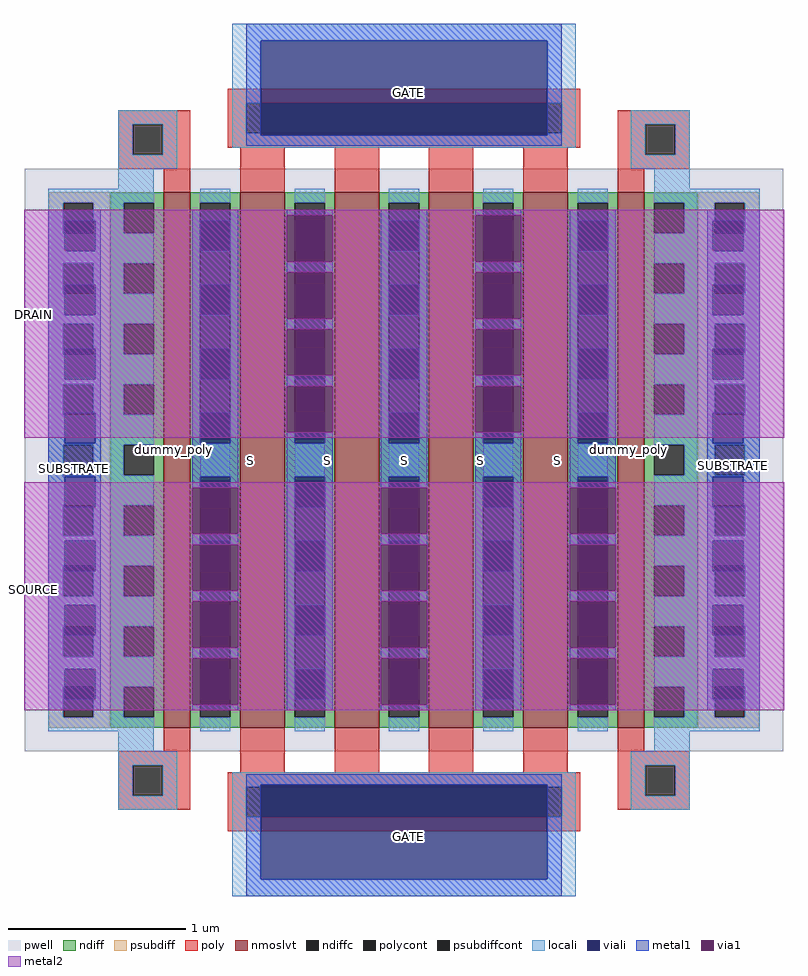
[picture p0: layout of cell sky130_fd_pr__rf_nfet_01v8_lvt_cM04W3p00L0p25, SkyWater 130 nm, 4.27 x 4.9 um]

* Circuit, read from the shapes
.subckt sky130_fd_pr__rf_nfet_01v8_lvt_cM04W3p00L0p25 GATE SUBSTRATE SOURCE DRAIN
XM1 SOURCE SUBSTRATE SUBSTRATE SUBSTRATE sky130_fd_pr__nfet_01v8_lvt w=3.01 l=0.15 m=2
XM2 DRAIN GATE SOURCE SUBSTRATE sky130_fd_pr__nfet_01v8_lvt w=3.01 l=0.25 m=4
.ends

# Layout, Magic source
magic
tech sky130A
magscale 1 2
<< pwell >>
rect 15 163 867 817
<< nmoslvt >>
rect 171 189 201 791
rect 257 189 307 791
rect 363 189 413 791
rect 469 189 519 791
rect 575 189 625 791
rect 681 189 711 791
<< ndiff >>
rect 111 779 171 791
rect 111 745 126 779
rect 160 745 171 779
rect 111 711 171 745
rect 111 677 126 711
rect 160 677 171 711
rect 111 643 171 677
rect 111 609 126 643
rect 160 609 171 643
rect 111 575 171 609
rect 111 541 126 575
rect 160 541 171 575
rect 111 507 171 541
rect 111 473 126 507
rect 160 473 171 507
rect 111 439 171 473
rect 111 405 126 439
rect 160 405 171 439
rect 111 371 171 405
rect 111 337 126 371
rect 160 337 171 371
rect 111 303 171 337
rect 111 269 126 303
rect 160 269 171 303
rect 111 235 171 269
rect 111 201 126 235
rect 160 201 171 235
rect 111 189 171 201
rect 201 779 257 791
rect 201 513 212 779
rect 246 513 257 779
rect 201 467 257 513
rect 201 201 212 467
rect 246 201 257 467
rect 201 189 257 201
rect 307 779 363 791
rect 307 513 318 779
rect 352 513 363 779
rect 307 467 363 513
rect 307 201 318 467
rect 352 201 363 467
rect 307 189 363 201
rect 413 779 469 791
rect 413 513 424 779
rect 458 513 469 779
rect 413 467 469 513
rect 413 201 424 467
rect 458 201 469 467
rect 413 189 469 201
rect 519 779 575 791
rect 519 513 530 779
rect 564 513 575 779
rect 519 467 575 513
rect 519 201 530 467
rect 564 201 575 467
rect 519 189 575 201
rect 625 779 681 791
rect 625 513 636 779
rect 670 513 681 779
rect 625 467 681 513
rect 625 201 636 467
rect 670 201 681 467
rect 625 189 681 201
rect 711 779 771 791
rect 711 745 722 779
rect 756 745 771 779
rect 711 711 771 745
rect 711 677 722 711
rect 756 677 771 711
rect 711 643 771 677
rect 711 609 722 643
rect 756 609 771 643
rect 711 575 771 609
rect 711 541 722 575
rect 756 541 771 575
rect 711 507 771 541
rect 711 473 722 507
rect 756 473 771 507
rect 711 439 771 473
rect 711 405 722 439
rect 756 405 771 439
rect 711 371 771 405
rect 711 337 722 371
rect 756 337 771 371
rect 711 303 771 337
rect 711 269 722 303
rect 756 269 771 303
rect 711 235 771 269
rect 711 201 722 235
rect 756 201 771 235
rect 711 189 771 201
<< ndiffc >>
rect 126 745 160 779
rect 126 677 160 711
rect 126 609 160 643
rect 126 541 160 575
rect 126 473 160 507
rect 126 405 160 439
rect 126 337 160 371
rect 126 269 160 303
rect 126 201 160 235
rect 212 513 246 779
rect 212 201 246 467
rect 318 513 352 779
rect 318 201 352 467
rect 424 513 458 779
rect 424 201 458 467
rect 530 513 564 779
rect 530 201 564 467
rect 636 513 670 779
rect 636 201 670 467
rect 722 745 756 779
rect 722 677 756 711
rect 722 609 756 643
rect 722 541 756 575
rect 722 473 756 507
rect 722 405 756 439
rect 722 337 756 371
rect 722 269 756 303
rect 722 201 756 235
<< psubdiff >>
rect 41 779 111 791
rect 41 745 58 779
rect 92 745 111 779
rect 41 711 111 745
rect 41 677 58 711
rect 92 677 111 711
rect 41 643 111 677
rect 41 609 58 643
rect 92 609 111 643
rect 41 575 111 609
rect 41 541 58 575
rect 92 541 111 575
rect 41 507 111 541
rect 41 473 58 507
rect 92 473 111 507
rect 41 439 111 473
rect 41 405 58 439
rect 92 405 111 439
rect 41 371 111 405
rect 41 337 58 371
rect 92 337 111 371
rect 41 303 111 337
rect 41 269 58 303
rect 92 269 111 303
rect 41 235 111 269
rect 41 201 58 235
rect 92 201 111 235
rect 41 189 111 201
rect 771 779 841 791
rect 771 745 790 779
rect 824 745 841 779
rect 771 711 841 745
rect 771 677 790 711
rect 824 677 841 711
rect 771 643 841 677
rect 771 609 790 643
rect 824 609 841 643
rect 771 575 841 609
rect 771 541 790 575
rect 824 541 841 575
rect 771 507 841 541
rect 771 473 790 507
rect 824 473 841 507
rect 771 439 841 473
rect 771 405 790 439
rect 824 405 841 439
rect 771 371 841 405
rect 771 337 790 371
rect 824 337 841 371
rect 771 303 841 337
rect 771 269 790 303
rect 824 269 841 303
rect 771 235 841 269
rect 771 201 790 235
rect 824 201 841 235
rect 771 189 841 201
<< psubdiffcont >>
rect 58 745 92 779
rect 58 677 92 711
rect 58 609 92 643
rect 58 541 92 575
rect 58 473 92 507
rect 58 405 92 439
rect 58 337 92 371
rect 58 269 92 303
rect 58 201 92 235
rect 790 745 824 779
rect 790 677 824 711
rect 790 609 824 643
rect 790 541 824 575
rect 790 473 824 507
rect 790 405 824 439
rect 790 337 824 371
rect 790 269 824 303
rect 790 201 824 235
<< poly >>
rect 243 891 639 907
rect 120 867 201 883
rect 120 833 136 867
rect 170 833 201 867
rect 243 857 264 891
rect 618 857 639 891
rect 243 841 639 857
rect 681 867 762 883
rect 120 817 201 833
rect 171 791 201 817
rect 257 791 307 841
rect 363 791 413 841
rect 469 791 519 841
rect 575 791 625 841
rect 681 833 712 867
rect 746 833 762 867
rect 681 817 762 833
rect 681 791 711 817
rect 171 163 201 189
rect 120 147 201 163
rect 120 113 136 147
rect 170 113 201 147
rect 257 139 307 189
rect 363 139 413 189
rect 469 139 519 189
rect 575 139 625 189
rect 681 163 711 189
rect 681 147 762 163
rect 120 97 201 113
rect 243 123 639 139
rect 243 89 264 123
rect 618 89 639 123
rect 681 113 712 147
rect 746 113 762 147
rect 681 97 762 113
rect 243 73 639 89
<< polycont >>
rect 136 833 170 867
rect 264 857 618 891
rect 712 833 746 867
rect 136 113 170 147
rect 264 89 618 123
rect 712 113 746 147
<< locali >>
rect 248 961 634 980
rect 248 891 280 961
rect 602 891 634 961
rect 120 867 186 883
rect 120 833 136 867
rect 170 833 186 867
rect 248 857 264 891
rect 618 857 634 891
rect 248 855 280 857
rect 602 855 634 857
rect 248 841 634 855
rect 696 867 762 883
rect 120 817 186 833
rect 696 833 712 867
rect 746 833 762 867
rect 696 817 762 833
rect 120 795 160 817
rect 722 795 762 817
rect 41 779 160 795
rect 41 745 58 779
rect 92 759 126 779
rect 94 745 126 759
rect 41 725 60 745
rect 94 725 160 745
rect 41 711 160 725
rect 41 677 58 711
rect 92 687 126 711
rect 94 677 126 687
rect 41 653 60 677
rect 94 653 160 677
rect 41 643 160 653
rect 41 609 58 643
rect 92 615 126 643
rect 94 609 126 615
rect 41 581 60 609
rect 94 581 160 609
rect 41 575 160 581
rect 41 541 58 575
rect 92 543 126 575
rect 94 541 126 543
rect 41 509 60 541
rect 94 509 160 541
rect 41 507 160 509
rect 41 473 58 507
rect 92 473 126 507
rect 41 471 160 473
rect 41 439 60 471
rect 94 439 160 471
rect 41 405 58 439
rect 94 437 126 439
rect 92 405 126 437
rect 41 399 160 405
rect 41 371 60 399
rect 94 371 160 399
rect 41 337 58 371
rect 94 365 126 371
rect 92 337 126 365
rect 41 327 160 337
rect 41 303 60 327
rect 94 303 160 327
rect 41 269 58 303
rect 94 293 126 303
rect 92 269 126 293
rect 41 255 160 269
rect 41 235 60 255
rect 94 235 160 255
rect 41 201 58 235
rect 94 221 126 235
rect 92 201 126 221
rect 41 185 160 201
rect 212 779 246 795
rect 212 471 246 509
rect 212 185 246 201
rect 318 779 352 795
rect 318 471 352 509
rect 318 185 352 201
rect 424 779 458 795
rect 424 471 458 509
rect 424 185 458 201
rect 530 779 564 795
rect 530 471 564 509
rect 530 185 564 201
rect 636 779 670 795
rect 636 471 670 509
rect 636 185 670 201
rect 722 779 841 795
rect 756 759 790 779
rect 756 745 788 759
rect 824 745 841 779
rect 722 725 788 745
rect 822 725 841 745
rect 722 711 841 725
rect 756 687 790 711
rect 756 677 788 687
rect 824 677 841 711
rect 722 653 788 677
rect 822 653 841 677
rect 722 643 841 653
rect 756 615 790 643
rect 756 609 788 615
rect 824 609 841 643
rect 722 581 788 609
rect 822 581 841 609
rect 722 575 841 581
rect 756 543 790 575
rect 756 541 788 543
rect 824 541 841 575
rect 722 509 788 541
rect 822 509 841 541
rect 722 507 841 509
rect 756 473 790 507
rect 824 473 841 507
rect 722 471 841 473
rect 722 439 788 471
rect 822 439 841 471
rect 756 437 788 439
rect 756 405 790 437
rect 824 405 841 439
rect 722 399 841 405
rect 722 371 788 399
rect 822 371 841 399
rect 756 365 788 371
rect 756 337 790 365
rect 824 337 841 371
rect 722 327 841 337
rect 722 303 788 327
rect 822 303 841 327
rect 756 293 788 303
rect 756 269 790 293
rect 824 269 841 303
rect 722 255 841 269
rect 722 235 788 255
rect 822 235 841 255
rect 756 221 788 235
rect 756 201 790 221
rect 824 201 841 235
rect 722 185 841 201
rect 120 163 160 185
rect 722 163 762 185
rect 120 147 186 163
rect 120 113 136 147
rect 170 113 186 147
rect 696 147 762 163
rect 120 97 186 113
rect 248 125 634 139
rect 248 123 280 125
rect 602 123 634 125
rect 248 89 264 123
rect 618 89 634 123
rect 696 113 712 147
rect 746 113 762 147
rect 696 97 762 113
rect 248 19 280 89
rect 602 19 634 89
rect 248 0 634 19
<< viali >>
rect 280 891 602 961
rect 280 857 602 891
rect 280 855 602 857
rect 60 745 92 759
rect 92 745 94 759
rect 60 725 94 745
rect 60 677 92 687
rect 92 677 94 687
rect 60 653 94 677
rect 60 609 92 615
rect 92 609 94 615
rect 60 581 94 609
rect 60 541 92 543
rect 92 541 94 543
rect 60 509 94 541
rect 60 439 94 471
rect 60 437 92 439
rect 92 437 94 439
rect 60 371 94 399
rect 60 365 92 371
rect 92 365 94 371
rect 60 303 94 327
rect 60 293 92 303
rect 92 293 94 303
rect 60 235 94 255
rect 60 221 92 235
rect 92 221 94 235
rect 212 725 246 759
rect 212 653 246 687
rect 212 581 246 615
rect 212 513 246 543
rect 212 509 246 513
rect 212 467 246 471
rect 212 437 246 467
rect 212 365 246 399
rect 212 293 246 327
rect 212 221 246 255
rect 318 725 352 759
rect 318 653 352 687
rect 318 581 352 615
rect 318 513 352 543
rect 318 509 352 513
rect 318 467 352 471
rect 318 437 352 467
rect 318 365 352 399
rect 318 293 352 327
rect 318 221 352 255
rect 424 725 458 759
rect 424 653 458 687
rect 424 581 458 615
rect 424 513 458 543
rect 424 509 458 513
rect 424 467 458 471
rect 424 437 458 467
rect 424 365 458 399
rect 424 293 458 327
rect 424 221 458 255
rect 530 725 564 759
rect 530 653 564 687
rect 530 581 564 615
rect 530 513 564 543
rect 530 509 564 513
rect 530 467 564 471
rect 530 437 564 467
rect 530 365 564 399
rect 530 293 564 327
rect 530 221 564 255
rect 636 725 670 759
rect 636 653 670 687
rect 636 581 670 615
rect 636 513 670 543
rect 636 509 670 513
rect 636 467 670 471
rect 636 437 670 467
rect 636 365 670 399
rect 636 293 670 327
rect 636 221 670 255
rect 788 745 790 759
rect 790 745 822 759
rect 788 725 822 745
rect 788 677 790 687
rect 790 677 822 687
rect 788 653 822 677
rect 788 609 790 615
rect 790 609 822 615
rect 788 581 822 609
rect 788 541 790 543
rect 790 541 822 543
rect 788 509 822 541
rect 788 439 822 471
rect 788 437 790 439
rect 790 437 822 439
rect 788 371 822 399
rect 788 365 790 371
rect 790 365 822 371
rect 788 303 822 327
rect 788 293 790 303
rect 790 293 822 303
rect 788 235 822 255
rect 788 221 790 235
rect 790 221 822 235
rect 280 123 602 125
rect 280 89 602 123
rect 280 19 602 89
<< metal1 >>
rect 264 961 618 980
rect 264 855 280 961
rect 602 855 618 961
rect 264 843 618 855
rect 41 759 100 771
rect 41 725 60 759
rect 94 725 100 759
rect 41 687 100 725
rect 41 653 60 687
rect 94 653 100 687
rect 41 615 100 653
rect 41 581 60 615
rect 94 581 100 615
rect 41 543 100 581
rect 41 509 60 543
rect 94 509 100 543
rect 41 471 100 509
rect 41 437 60 471
rect 94 437 100 471
rect 41 399 100 437
rect 41 365 60 399
rect 94 365 100 399
rect 41 327 100 365
rect 41 293 60 327
rect 94 293 100 327
rect 41 255 100 293
rect 41 221 60 255
rect 94 221 100 255
rect 41 209 100 221
rect 203 759 255 771
rect 203 725 212 759
rect 246 725 255 759
rect 203 687 255 725
rect 203 653 212 687
rect 246 653 255 687
rect 203 615 255 653
rect 203 581 212 615
rect 246 581 255 615
rect 203 543 255 581
rect 203 509 212 543
rect 246 509 255 543
rect 203 471 255 509
rect 203 459 212 471
rect 246 459 255 471
rect 203 399 255 407
rect 203 395 212 399
rect 246 395 255 399
rect 203 331 255 343
rect 203 267 255 279
rect 203 209 255 215
rect 309 765 361 771
rect 309 701 361 713
rect 309 637 361 649
rect 309 581 318 585
rect 352 581 361 585
rect 309 573 361 581
rect 309 509 318 521
rect 352 509 361 521
rect 309 471 361 509
rect 309 437 318 471
rect 352 437 361 471
rect 309 399 361 437
rect 309 365 318 399
rect 352 365 361 399
rect 309 327 361 365
rect 309 293 318 327
rect 352 293 361 327
rect 309 255 361 293
rect 309 221 318 255
rect 352 221 361 255
rect 309 209 361 221
rect 415 759 467 771
rect 415 725 424 759
rect 458 725 467 759
rect 415 687 467 725
rect 415 653 424 687
rect 458 653 467 687
rect 415 615 467 653
rect 415 581 424 615
rect 458 581 467 615
rect 415 543 467 581
rect 415 509 424 543
rect 458 509 467 543
rect 415 471 467 509
rect 415 459 424 471
rect 458 459 467 471
rect 415 399 467 407
rect 415 395 424 399
rect 458 395 467 399
rect 415 331 467 343
rect 415 267 467 279
rect 415 209 467 215
rect 521 765 573 771
rect 521 701 573 713
rect 521 637 573 649
rect 521 581 530 585
rect 564 581 573 585
rect 521 573 573 581
rect 521 509 530 521
rect 564 509 573 521
rect 521 471 573 509
rect 521 437 530 471
rect 564 437 573 471
rect 521 399 573 437
rect 521 365 530 399
rect 564 365 573 399
rect 521 327 573 365
rect 521 293 530 327
rect 564 293 573 327
rect 521 255 573 293
rect 521 221 530 255
rect 564 221 573 255
rect 521 209 573 221
rect 627 759 679 771
rect 627 725 636 759
rect 670 725 679 759
rect 627 687 679 725
rect 627 653 636 687
rect 670 653 679 687
rect 627 615 679 653
rect 627 581 636 615
rect 670 581 679 615
rect 627 543 679 581
rect 627 509 636 543
rect 670 509 679 543
rect 627 471 679 509
rect 627 459 636 471
rect 670 459 679 471
rect 627 399 679 407
rect 627 395 636 399
rect 670 395 679 399
rect 627 331 679 343
rect 627 267 679 279
rect 627 209 679 215
rect 782 759 841 771
rect 782 725 788 759
rect 822 725 841 759
rect 782 687 841 725
rect 782 653 788 687
rect 822 653 841 687
rect 782 615 841 653
rect 782 581 788 615
rect 822 581 841 615
rect 782 543 841 581
rect 782 509 788 543
rect 822 509 841 543
rect 782 471 841 509
rect 782 437 788 471
rect 822 437 841 471
rect 782 399 841 437
rect 782 365 788 399
rect 822 365 841 399
rect 782 327 841 365
rect 782 293 788 327
rect 822 293 841 327
rect 782 255 841 293
rect 782 221 788 255
rect 822 221 841 255
rect 782 209 841 221
rect 264 125 618 137
rect 264 19 280 125
rect 602 19 618 125
rect 264 0 618 19
<< via1 >>
rect 203 437 212 459
rect 212 437 246 459
rect 246 437 255 459
rect 203 407 255 437
rect 203 365 212 395
rect 212 365 246 395
rect 246 365 255 395
rect 203 343 255 365
rect 203 327 255 331
rect 203 293 212 327
rect 212 293 246 327
rect 246 293 255 327
rect 203 279 255 293
rect 203 255 255 267
rect 203 221 212 255
rect 212 221 246 255
rect 246 221 255 255
rect 203 215 255 221
rect 309 759 361 765
rect 309 725 318 759
rect 318 725 352 759
rect 352 725 361 759
rect 309 713 361 725
rect 309 687 361 701
rect 309 653 318 687
rect 318 653 352 687
rect 352 653 361 687
rect 309 649 361 653
rect 309 615 361 637
rect 309 585 318 615
rect 318 585 352 615
rect 352 585 361 615
rect 309 543 361 573
rect 309 521 318 543
rect 318 521 352 543
rect 352 521 361 543
rect 415 437 424 459
rect 424 437 458 459
rect 458 437 467 459
rect 415 407 467 437
rect 415 365 424 395
rect 424 365 458 395
rect 458 365 467 395
rect 415 343 467 365
rect 415 327 467 331
rect 415 293 424 327
rect 424 293 458 327
rect 458 293 467 327
rect 415 279 467 293
rect 415 255 467 267
rect 415 221 424 255
rect 424 221 458 255
rect 458 221 467 255
rect 415 215 467 221
rect 521 759 573 765
rect 521 725 530 759
rect 530 725 564 759
rect 564 725 573 759
rect 521 713 573 725
rect 521 687 573 701
rect 521 653 530 687
rect 530 653 564 687
rect 564 653 573 687
rect 521 649 573 653
rect 521 615 573 637
rect 521 585 530 615
rect 530 585 564 615
rect 564 585 573 615
rect 521 543 573 573
rect 521 521 530 543
rect 530 521 564 543
rect 564 521 573 543
rect 627 437 636 459
rect 636 437 670 459
rect 670 437 679 459
rect 627 407 679 437
rect 627 365 636 395
rect 636 365 670 395
rect 670 365 679 395
rect 627 343 679 365
rect 627 327 679 331
rect 627 293 636 327
rect 636 293 670 327
rect 670 293 679 327
rect 627 279 679 293
rect 627 255 679 267
rect 627 221 636 255
rect 636 221 670 255
rect 670 221 679 255
rect 627 215 679 221
<< metal2 >>
rect 14 765 868 771
rect 14 713 309 765
rect 361 713 521 765
rect 573 713 868 765
rect 14 701 868 713
rect 14 649 309 701
rect 361 649 521 701
rect 573 649 868 701
rect 14 637 868 649
rect 14 585 309 637
rect 361 585 521 637
rect 573 585 868 637
rect 14 573 868 585
rect 14 521 309 573
rect 361 521 521 573
rect 573 521 868 573
rect 14 515 868 521
rect 14 459 868 465
rect 14 407 203 459
rect 255 407 415 459
rect 467 407 627 459
rect 679 407 868 459
rect 14 395 868 407
rect 14 343 203 395
rect 255 343 415 395
rect 467 343 627 395
rect 679 343 868 395
rect 14 331 868 343
rect 14 279 203 331
rect 255 279 415 331
rect 467 279 627 331
rect 679 279 868 331
rect 14 267 868 279
rect 14 215 203 267
rect 255 215 415 267
rect 467 215 627 267
rect 679 215 868 267
rect 14 209 868 215
<< labels >>
flabel metal1 s 321 42 571 92 0 FreeSans 200 0 0 0 GATE
port 1 nsew
flabel metal1 s 321 878 571 928 0 FreeSans 200 0 0 0 GATE
port 1 nsew
flabel metal1 s 41 466 100 496 0 FreeSans 200 90 0 0 SUBSTRATE
port 2 nsew
flabel metal1 s 782 469 841 499 0 FreeSans 200 90 0 0 SUBSTRATE
port 2 nsew
flabel comment s 693 502 693 502 0 FreeSans 180 90 0 0 dummy_poly
flabel comment s 182 502 182 502 0 FreeSans 180 90 0 0 dummy_poly
flabel comment s 269 490 269 490 0 FreeSans 300 0 0 0 S
flabel comment s 355 490 355 490 0 FreeSans 300 0 0 0 S
flabel comment s 441 490 441 490 0 FreeSans 300 0 0 0 S
flabel comment s 527 490 527 490 0 FreeSans 300 0 0 0 S
flabel comment s 269 490 269 490 0 FreeSans 300 0 0 0 S
flabel comment s 355 490 355 490 0 FreeSans 300 0 0 0 D
flabel comment s 441 490 441 490 0 FreeSans 300 0 0 0 S
flabel comment s 527 490 527 490 0 FreeSans 300 0 0 0 D
flabel comment s 613 490 613 490 0 FreeSans 300 0 0 0 S
flabel metal2 s 14 280 35 408 7 FreeSans 300 180 0 0 SOURCE
port 3 nsew
flabel metal2 s 14 589 35 717 7 FreeSans 300 180 0 0 DRAIN
port 4 nsew
<< properties >>
string GDS_FILE $PDKPATH/libs.ref/sky130_fd_pr/gds/sky130_fd_pr.gds
string GDS_END 6781562
string GDS_START 6764000
<< end >>
